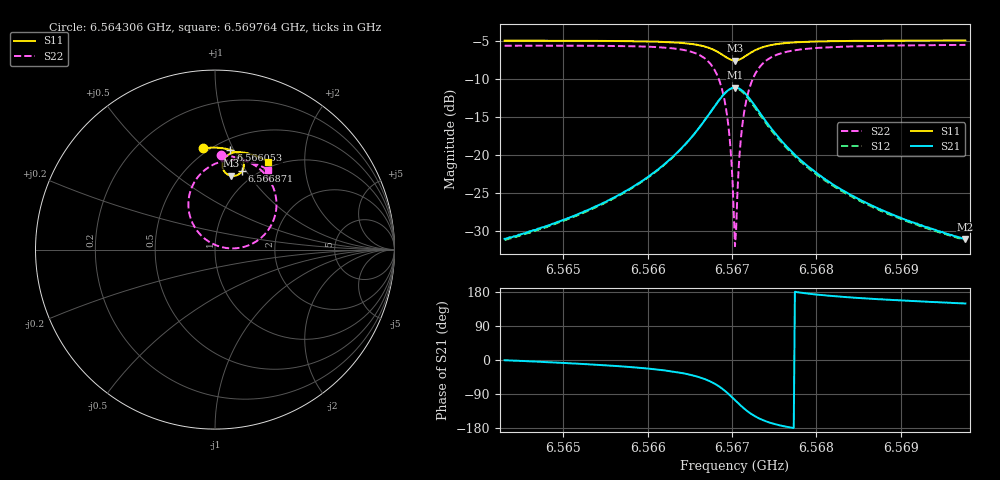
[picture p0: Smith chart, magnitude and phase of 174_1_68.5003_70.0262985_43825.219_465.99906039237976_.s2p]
#  HZ  S  RI  R  50.00
! Rohde & Schwarz Vector Network Analyzer
! Rohde-Schwarz,ZNB20-2Port,1311601062101988,3.16
! Created: UTC 3/20/2024, 4:56:19 PM
! freq[Hz]  re:S11  im:S11  re:S21  im:S21  re:S12  im:S12  re:S22  im:S22
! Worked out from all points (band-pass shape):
!   401 points, 6.564306 GHz to 6.569764 GHz, reference 50 ohm
!   highest |S21| = -11.08 dB at 6.567035 GHz (marker M1); lowest = -31.1 dB at 6.569764 GHz (marker M2)
!   |S21| within 3 dB of the highest: 6.566761 GHz to 6.567308 GHz (546.6 kHz wide, 0.00832 % of centre)
!   lowest |S11| = -7.5 dB at 6.567035 GHz (marker M3), VSWR 2.45, Z = 41.1 + j41.1 ohm
!   |S11| at or under -10 dB: nowhere
!   |S22| runs from -32.0 to -5.4 dB; largest |S21 - S12| = 0.013
!   S11 on the Smith chart (normalised r, x): 6.564306 GHz: 0.46, +0.78; 6.566053 GHz: 0.60, +0.97; 6.566871 GHz: 0.86, +0.96; 6.569764 GHz: 0.91, +1.33
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6.5643062e9  -0.0664 0.5654  0.028 -0.000302  0.0274 -0.000706  0.0342 0.5263
6.5652204e9  0.00843 0.568  0.0411 -0.00734  0.0404 -0.00809  0.1209 0.5132
6.5660526e9  0.0859 0.5552  0.0687 -0.0302  0.0676 -0.031  0.2283 0.4652
6.5661345e9  0.0946 0.552  0.0733 -0.0354  0.0721 -0.0363  0.2425 0.4547
6.5664346e9  0.1291 0.5329  0.0943 -0.0677  0.0927 -0.0689  0.3012 0.391
6.5666529e9  0.1544 0.5018  0.1081 -0.1218  0.1054 -0.1244  0.3403 0.286
6.5667757e9  0.1609 0.4707  0.1003 -0.1764  0.0959 -0.1798  0.3321 0.1819
6.5668712e9  0.1518 0.4393  0.0675 -0.2302  0.0597 -0.2333  0.2732 0.081
6.5669531e9  0.1263 0.4162  0.00673 -0.2677  -0.00429 -0.2677  0.1615 0.0152
6.5669804e9  0.1142 0.4118  -0.0198 -0.2733  -0.0317 -0.2716  0.1131 0.00707
6.5670213e9  0.0941 0.4104  -0.0622 -0.272  -0.074 -0.267  0.038 0.0136
6.5670349e9  0.0876 0.4116  -0.0761 -0.2686  -0.0878 -0.2627  0.0136 0.021
6.5670486e9  0.0811 0.4135  -0.0898 -0.2641  -0.1009 -0.2571  -0.00993 0.0309
6.5670622e9  0.0749 0.416  -0.1028 -0.2583  -0.1134 -0.2501  -0.0321 0.0432
6.5670895e9  0.0636 0.4231  -0.1265 -0.2428  -0.1355 -0.2333  -0.0713 0.0731
6.5671304e9  0.0508 0.4373  -0.154 -0.214  -0.1605 -0.2028  -0.1148 0.1277
6.567185e9  0.0421 0.4588  -0.175 -0.1709  -0.178 -0.1597  -0.1441 0.2054
6.5672532e9  0.0422 0.4837  -0.1809 -0.1219  -0.1804 -0.1121  -0.1452 0.2914
6.5674988e9  0.0795 0.5314  -0.139 -0.0277  -0.1361 -0.0235  -0.049 0.4494
6.567949e9  0.1424 0.543  -0.0797 0.00839  -0.0777 0.00969  0.0865 0.4995
6.5688632e9  0.2271 0.5222  -0.0386 0.0149  -0.0376 0.0151  0.2167 0.4814
6.5697636e9  0.2935 0.4898  -0.024 0.0143  -0.0234 0.0143  0.2953 0.4449
